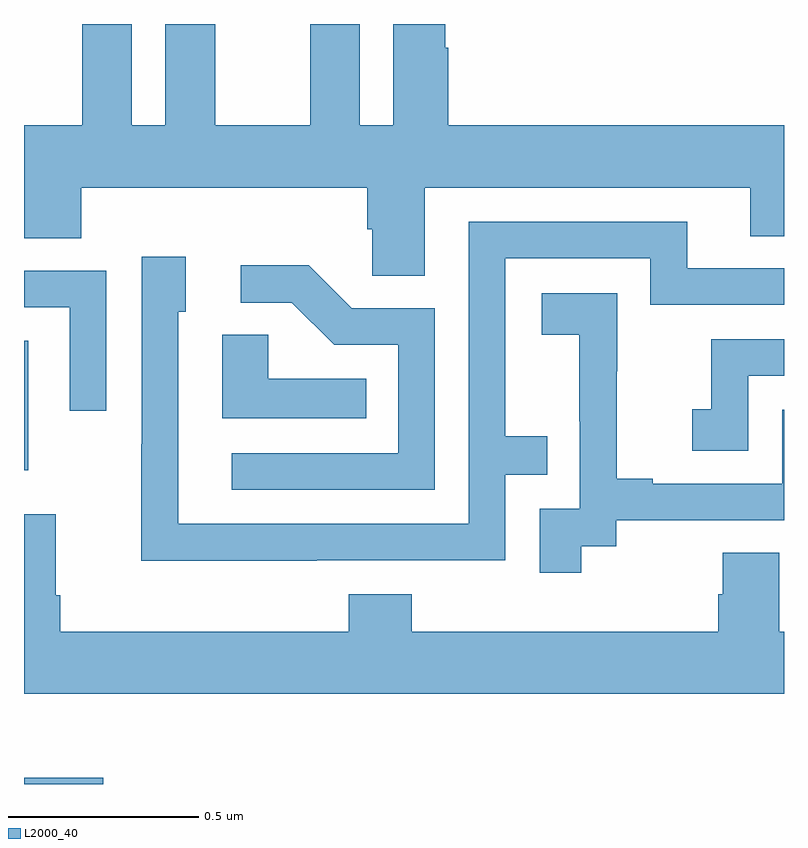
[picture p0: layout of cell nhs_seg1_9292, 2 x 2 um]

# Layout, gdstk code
import gdstk
lib = gdstk.Library(unit=1e-6, precision=1e-09)
def R(c, l, rs):  # rectangles x0, y0, x1, y1
    for r in rs: c.add(gdstk.rectangle(r[:2], r[2:], *l))
def P(c, l, *ps):  # polygons
    for p in ps: c.add(gdstk.Polygon(p, *l))
L2000_40 = (2000, 40)

nhs_seg1_9292 = lib.new_cell('nhs_seg1_9292')
R(nhs_seg1_9292, L2000_40, [(227,514.199,227.209,514.216), (227,515.025,227.011,515.365)])
P(nhs_seg1_9292, L2000_40, [(228.055,515.768),(228.911,515.768),(228.911,515.641),(229,515.641),(229,515.932),(228.116,515.932),(228.116,516.137),(228.109,516.137),(228.109,516.199),(227.972,516.199),(227.972,515.932),(227.884,515.932),(227.884,516.199),(227.753,516.199),(227.753,515.932),(227.503,515.932),(227.503,516.199),(227.372,516.199),(227.372,515.932),(227.284,515.932),(227.284,516.199),(227.153,516.199),(227.153,515.932),(227,515.932),(227,515.635),(227.15,515.635),(227.15,515.768),(227.903,515.768),(227.903,515.659),(227.916,515.659),(227.916,515.536),(228.055,515.536)],
  [(227.771,514.788),(228.267,514.788),(228.267,515.013),(228.377,515.013),(228.377,515.114),(228.267,515.114),(228.267,515.583),(228.648,515.583),(228.648,515.46),(229,515.46),(229,515.556),(228.745,515.556),(228.745,515.679),(228.171,515.679),(228.171,514.884),(227.406,514.884),(227.406,515.442),(227.425,515.442),(227.425,515.587),(227.31,515.587),(227.31,515.093),(227.308,515.093),(227.308,514.787),(227.771,514.787)],
  [(228.081,515.451),(227.862,515.451),(227.749,515.564),(227.571,515.564),(227.571,515.466),(227.705,515.466),(227.816,515.355),(227.985,515.355),(227.985,515.07),(227.547,515.07),(227.547,514.974),(228.081,514.974)],
  [(227.217,515.55),(227,515.55),(227,515.454),(227.121,515.454),(227.121,515.181),(227.217,515.181)],
  [(228.466,514.825),(228.558,514.825),(228.558,514.893),(229,514.893),(229,515.184),(228.996,515.184),(228.996,514.989),(228.655,514.989),(228.655,515.002),(228.56,515.002),(228.56,515.285),(228.561,515.285),(228.561,515.491),(228.363,515.491),(228.363,515.381),(228.461,515.381),(228.461,515.153),(228.462,515.153),(228.462,514.923),(228.357,514.923),(228.357,514.755),(228.466,514.755)],
  [(227.9,515.266),(227.643,515.266),(227.643,515.381),(227.522,515.381),(227.522,515.162),(227.9,515.162)],
  [(228.906,515.274),(229,515.274),(229,515.37),(228.808,515.37),(228.808,515.185),(228.759,515.185),(228.759,515.076),(228.906,515.076)],
  [(229,514.6),(228.987,514.6),(228.987,514.808),(228.839,514.808),(228.839,514.698),(228.827,514.698),(228.827,514.6),(228.02,514.6),(228.02,514.699),(227.855,514.699),(227.855,514.6),(227.096,514.6),(227.096,514.696),(227.083,514.696),(227.083,514.909),(227,514.909),(227,514.436),(229,514.436)])

lib.write_gds('nhs_seg1_9292.gds')
